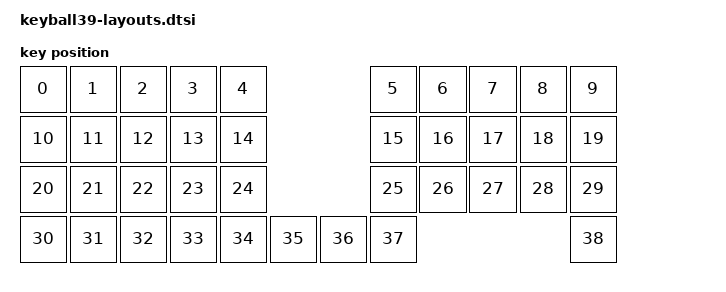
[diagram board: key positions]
#include <physical_layouts.dtsi>

/ {
    default_layout: default_layout {
        compatible = "zmk,physical-layout";
        display-name = "Keyball39";
        transform = <&default_transform>;
        kscan = <&kscan>;

        // Edit this to define the positions and sizes of the keys, or remove it
        // if your keyboard will not support ZMK Studio.
        // https://zmk.dev/docs/development/hardware-integration/physical-layouts#optional-keys-property
        // You can use the physical layout converter tool to help generate this:
        // https://zmk-physical-layout-converter.streamlit.app/
        keys  //                     w   h    x    y     rot    rx    ry
            = <&key_physical_attrs 100 100    0    0       0     0     0>
            , <&key_physical_attrs 100 100  100    0       0     0     0>
            , <&key_physical_attrs 100 100  200    0       0     0     0>
            , <&key_physical_attrs 100 100  300    0       0     0     0>
            , <&key_physical_attrs 100 100  400    0       0     0     0>
            , <&key_physical_attrs 100 100  700    0       0     0     0>
            , <&key_physical_attrs 100 100  800    0       0     0     0>
            , <&key_physical_attrs 100 100  900    0       0     0     0>
            , <&key_physical_attrs 100 100 1000    0       0     0     0>
            , <&key_physical_attrs 100 100 1100    0       0     0     0>
            , <&key_physical_attrs 100 100    0  100       0     0     0>
            , <&key_physical_attrs 100 100  100  100       0     0     0>
            , <&key_physical_attrs 100 100  200  100       0     0     0>
            , <&key_physical_attrs 100 100  300  100       0     0     0>
            , <&key_physical_attrs 100 100  400  100       0     0     0>
            , <&key_physical_attrs 100 100  700  100       0     0     0>
            , <&key_physical_attrs 100 100  800  100       0     0     0>
            , <&key_physical_attrs 100 100  900  100       0     0     0>
            , <&key_physical_attrs 100 100 1000  100       0     0     0>
            , <&key_physical_attrs 100 100 1100  100       0     0     0>
            , <&key_physical_attrs 100 100    0  200       0     0     0>
            , <&key_physical_attrs 100 100  100  200       0     0     0>
            , <&key_physical_attrs 100 100  200  200       0     0     0>
            , <&key_physical_attrs 100 100  300  200       0     0     0>
            , <&key_physical_attrs 100 100  400  200       0     0     0>
            , <&key_physical_attrs 100 100  700  200       0     0     0>
            , <&key_physical_attrs 100 100  800  200       0     0     0>
            , <&key_physical_attrs 100 100  900  200       0     0     0>
            , <&key_physical_attrs 100 100 1000  200       0     0     0>
            , <&key_physical_attrs 100 100 1100  200       0     0     0>
            , <&key_physical_attrs 100 100    0  300       0     0     0>
            , <&key_physical_attrs 100 100  100  300       0     0     0>
            , <&key_physical_attrs 100 100  200  300       0     0     0>
            , <&key_physical_attrs 100 100  300  300       0     0     0>
            , <&key_physical_attrs 100 100  400  300       0     0     0>
            , <&key_physical_attrs 100 100  500  300       0     0     0>
            , <&key_physical_attrs 100 100  600  300       0     0     0>
            , <&key_physical_attrs 100 100  700  300       0     0     0>
            , <&key_physical_attrs 100 100 1100  300       0     0     0>
            ;
    };
};
